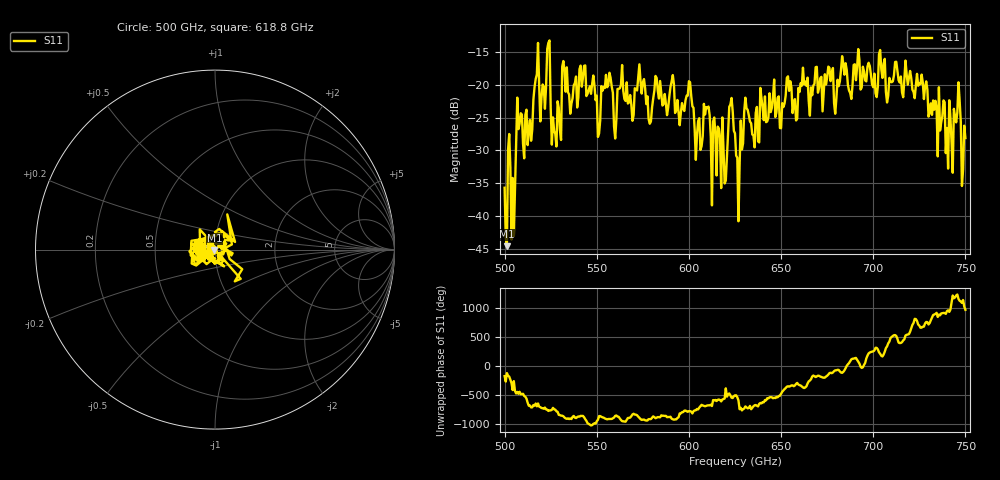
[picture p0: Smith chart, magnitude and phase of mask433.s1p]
!Created with skrf (http://scikit-rf.org).
# GHz S MA R 50.0
!freq magS11 angS11
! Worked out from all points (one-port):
!   401 points, 500 GHz to 750 GHz, reference 50 ohm
!   lowest |S11| = -44.6 dB at 501.2 GHz (marker M1), VSWR 1.01, Z = 49.6 - j0.467 ohm
!   |S11| at or under -10 dB: start of sweep to end of sweep
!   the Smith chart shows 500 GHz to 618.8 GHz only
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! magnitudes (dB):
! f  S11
! 500 GHz  -35.7
! 501.2 GHz  -44.6
! 504.4 GHz  -34.2
! 507.5 GHz  -26.8
! 513.8 GHz  -25.4
! 517.5 GHz  -18.4
! 520.6 GHz  -20.0
! 523.8 GHz  -13.6
! 526.9 GHz  -27.1
! 531.2 GHz  -17.3
! 542.5 GHz  -18.9
! 550.6 GHz  -28.0
! 562.5 GHz  -20.6
! 593.8 GHz  -22.3
! 600 GHz  -19.5
! 605 GHz  -25.5
! 609.4 GHz  -23.4
! 618.8 GHz  -29.7
! 622.5 GHz  -23.0
! 625 GHz  -27.4
! 626.2 GHz  -31.1
! 631.2 GHz  -23.6
! 656.2 GHz  -24.3
! 687.5 GHz  -21.3
! 718.8 GHz  -20.0
! 741.9 GHz  -25.0
! 746.2 GHz  -19.6
! 750 GHz  -28.1
